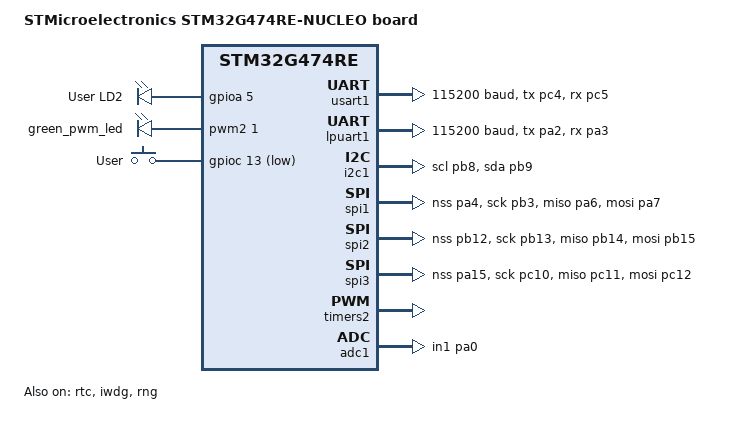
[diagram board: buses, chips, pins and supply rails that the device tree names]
/*
 * Copyright (c) 2019 STMicroelectronics.
 *
 * SPDX-License-Identifier: Apache-2.0
 */

/dts-v1/;
#include <st/g4/stm32g474Xe.dtsi>
#include <st/g4/stm32g474r(b-c-e)tx-pinctrl.dtsi>
#include "arduino_r3_connector.dtsi"

/ {
	model = "STMicroelectronics STM32G474RE-NUCLEO board";
	compatible = "st,stm32g474re-nucleo";

	chosen {
		zephyr,console = &lpuart1;
		zephyr,shell-uart = &lpuart1;
		zephyr,sram = &sram0;
		zephyr,flash = &flash0;
		zephyr,code-partition = &slot0_partition;
		zephyr,update-partition = &slot1_partition;
	};

	leds {
		compatible = "gpio-leds";
		green_led: led_0 {
			gpios = <&gpioa 5 GPIO_ACTIVE_HIGH>;
			label = "User LD2";
		};
	};

	pwmleds {
		compatible = "pwm-leds";

		green_pwm_led: green_pwm_led {
			pwms = <&pwm2 1 4 PWM_POLARITY_NORMAL>;
		};
	};

	gpio_keys {
		compatible = "gpio-keys";
		user_button: button {
			label = "User";
			gpios = <&gpioc 13 GPIO_ACTIVE_LOW>;
		};
	};

	aliases {
		led0 = &green_led;
		pwm-led0 = &green_pwm_led;
		sw0 = &user_button;
	};
};

&usart1 {
	pinctrl-0 = <&usart1_tx_pc4 &usart1_rx_pc5>;
	current-speed = <115200>;
	status = "okay";
};

&lpuart1 {
	pinctrl-0 = <&lpuart1_tx_pa2 &lpuart1_rx_pa3>;
	current-speed = <115200>;
	status = "okay";
};

&i2c1 {
	pinctrl-0 = <&i2c1_scl_pb8 &i2c1_sda_pb9>;
	status = "okay";
};

&spi1 {
	pinctrl-0 = <&spi1_nss_pa4 &spi1_sck_pb3
		     &spi1_miso_pa6 &spi1_mosi_pa7>;
	status = "okay";
};

&spi2 {
	pinctrl-0 = <&spi2_nss_pb12 &spi2_sck_pb13
		     &spi2_miso_pb14 &spi2_mosi_pb15>;
	status = "okay";
};

&spi3 {
	/* SPI3 on the ST Morpho Connector CN7 pins 17, 1, 2, 3*/
	pinctrl-0 = <&spi3_nss_pa15 &spi3_sck_pc10
		     &spi3_miso_pc11 &spi3_mosi_pc12>;
	status = "okay";
};

&timers2 {
	status = "okay";

	pwm2: pwm {
		status = "okay";
		pinctrl-0 = <&tim2_ch1_pwm_pa5>;
	};
};

&rtc {
	status = "okay";
};

&flash0 {
	partitions {
		compatible = "fixed-partitions";
		#address-cells = <1>;
		#size-cells = <1>;
		/*
		* For more information, see:
		* http://docs.zephyrproject.org/latest/guides/dts/index.html#flash-partitions
		*/
		boot_partition: partition@0 {
			label = "mcuboot";
			reg = <0x00000000 0x00010000>;
			read-only;
		};
		slot0_partition: partition@10000 {
			label = "image-0";
			reg = <0x00010000 0x002F000>;
		};
		slot1_partition: partition@3f000 {
			label = "image-1";
			reg = <0x0003F000 0x002F000>;
		};
		scratch_partition: partition@6e000 {
			label = "image-scratch";
			reg = <0x0006E000 0x00010000>;
		};
		storage_partition: partition@7f000 {
			label = "storage";
			reg = <0x0007F000 0x00001000>;
		};
	};
};

&iwdg {
	status = "okay";
};

&rng {
	status = "okay";
};

&adc1 {
	pinctrl-0 = <&adc1_in1_pa0>;
	status = "okay";
};
